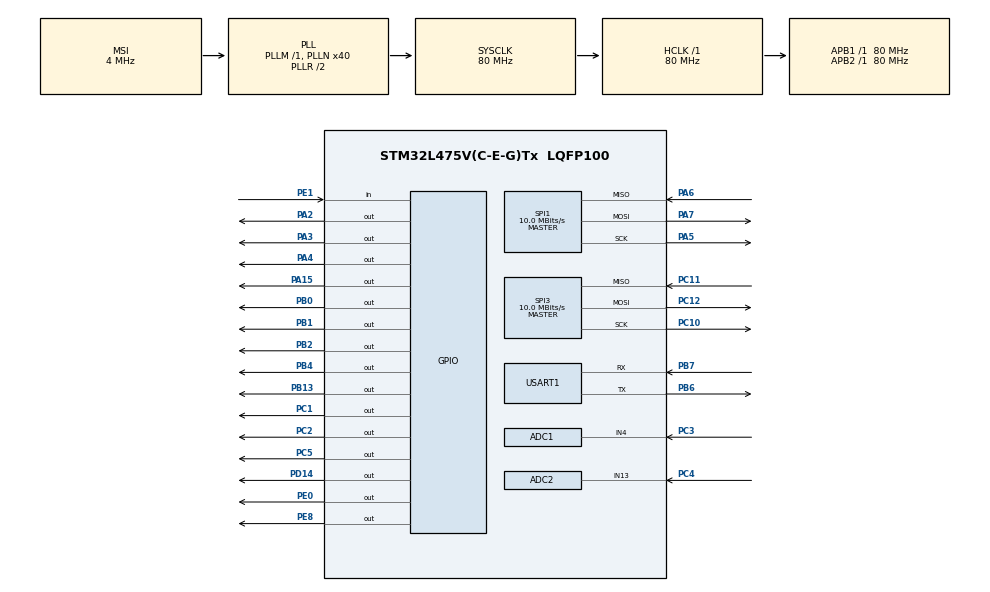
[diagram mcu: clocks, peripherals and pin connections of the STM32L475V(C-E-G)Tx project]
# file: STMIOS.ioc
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ADC1.Channel-0\#ChannelRegularConversion=ADC_CHANNEL_4
ADC1.ContinuousConvMode=ENABLE
ADC1.NbrOfConversionFlag=1
ADC1.OffsetNumber-0\#ChannelRegularConversion=ADC_OFFSET_NONE
ADC1.Rank-0\#ChannelRegularConversion=1
ADC1.SamplingTime-0\#ChannelRegularConversion=ADC_SAMPLETIME_2CYCLES_5
ADC1.master=1
ADC2.Channel-0\#ChannelRegularConversion=ADC_CHANNEL_13
ADC2.ContinuousConvMode=ENABLE
ADC2.NbrOfConversionFlag=1
ADC2.OffsetNumber-0\#ChannelRegularConversion=ADC_OFFSET_NONE
ADC2.Rank-0\#ChannelRegularConversion=1
ADC2.SamplingTime-0\#ChannelRegularConversion=ADC_SAMPLETIME_2CYCLES_5
FATFS._MAX_SS=4096
FATFS._USE_LFN=2
FREERTOS.Tasks01=defaultTask,0,128,StartDefaultTask,Default,NULL,Dynamic,NULL,NULL
FREERTOS.configTOTAL_HEAP_SIZE=64000
FREERTOS.configUSE_NEWLIB_REENTRANT=1
Mcu.Family=STM32L4
Mcu.Name=STM32L475V(C-E-G)Tx
Mcu.Package=LQFP100
NVIC.PriorityGroup=NVIC_PRIORITYGROUP_4
NVIC.TIM1_UP_TIM16_IRQn=true\:0\:0\:false\:false\:true\:false\:false\:true
NVIC.TIM2_IRQn=true\:5\:0\:false\:false\:true\:true\:true\:true
NVIC.TimeBase=TIM1_UP_TIM16_IRQn
NVIC.TimeBaseIP=TIM1
PA13\ (JTMS-SWDIO).Mode=Serial_Wire
PA13\ (JTMS-SWDIO).Signal=SYS_JTMS-SWDIO
PA14\ (JTCK-SWCLK).Mode=Serial_Wire
PA14\ (JTCK-SWCLK).Signal=SYS_JTCK-SWCLK
PA15\ (JTDI).Signal=GPIO_Output
PA2.GPIO_Speed=GPIO_SPEED_FREQ_MEDIUM
PA2.Signal=GPIO_Output
PA3.Signal=GPIO_Output
PA4.Signal=GPIO_Output
PA5.Mode=Full_Duplex_Master
PA5.Signal=SPI1_SCK
PA6.Mode=Full_Duplex_Master
PA6.Signal=SPI1_MISO
PA7.Mode=Full_Duplex_Master
PA7.Signal=SPI1_MOSI
PB0.Signal=GPIO_Output
PB1.Signal=GPIO_Output
PB13.Signal=GPIO_Output
PB2.Signal=GPIO_Output
PB4\ (NJTRST).Signal=GPIO_Output
PB6.Mode=Asynchronous
PB6.Signal=USART1_TX
PB7.Mode=Asynchronous
PB7.Signal=USART1_RX
PC1.Signal=GPIO_Output
PC10.Mode=Full_Duplex_Master
PC10.Signal=SPI3_SCK
PC11.Mode=Full_Duplex_Master
PC11.Signal=SPI3_MISO
PC12.Mode=Full_Duplex_Master
PC12.Signal=SPI3_MOSI
PC2.Signal=GPIO_Output
PC3.Signal=ADCx_IN4
PC4.Signal=ADCx_IN13
PC5.Signal=GPIO_Output
PD14.Signal=GPIO_Output
PE0.GPIO_Speed=GPIO_SPEED_FREQ_MEDIUM
PE0.Signal=GPIO_Output
PE1.Signal=GPIO_Input
PE8.Signal=GPIO_Output
ProjectManager.HeapSize=0x200
ProjectManager.StackSize=0x400
ProjectManager.TargetToolchain=STM32CubeIDE
RCC.ADCFreq_Value=48000000
RCC.AHBFreq_Value=80000000
RCC.APB1Freq_Value=80000000
RCC.APB1TimFreq_Value=80000000
RCC.APB2Freq_Value=80000000
RCC.APB2TimFreq_Value=80000000
RCC.CortexFreq_Value=80000000
RCC.HCLKFreq_Value=80000000
RCC.HSE_VALUE=8000000
RCC.HSI_VALUE=16000000
RCC.LSE_VALUE=32768
RCC.MSI_VALUE=4000000
RCC.PLLN=40
RCC.PLLSAI1N=24
RCC.RTCClockSelection=RCC_RTCCLKSOURCE_LSE
RCC.SYSCLKFreq_VALUE=80000000
RCC.SYSCLKSource=RCC_SYSCLKSOURCE_PLLCLK
RCC.USBFreq_Value=48000000
RCC.VCOOutputFreq_Value=160000000
SH.ADCx_IN13.0=ADC2_IN13,IN13-Single-Ended
SH.ADCx_IN4.0=ADC1_IN4,IN4-Single-Ended
SPI1.BaudRatePrescaler=SPI_BAUDRATEPRESCALER_8
SPI1.CalculateBaudRate=10.0 MBits/s
SPI1.DataSize=SPI_DATASIZE_8BIT
SPI1.Direction=SPI_DIRECTION_2LINES
SPI1.Mode=SPI_MODE_MASTER
SPI1.VirtualType=VM_MASTER
SPI3.BaudRatePrescaler=SPI_BAUDRATEPRESCALER_8
SPI3.CalculateBaudRate=10.0 MBits/s
SPI3.DataSize=SPI_DATASIZE_16BIT
SPI3.Direction=SPI_DIRECTION_2LINES
SPI3.Mode=SPI_MODE_MASTER
SPI3.VirtualType=VM_MASTER
TIM2.AutoReloadPreload=TIM_AUTORELOAD_PRELOAD_ENABLE
TIM2.Period=9999
TIM2.Prescaler=7999
USART1.VirtualMode-Asynchronous=VM_ASYNC
VP_FATFS_VS_Generic.Mode=User_defined
VP_FREERTOS_VS_CMSIS_V1.Mode=CMSIS_V1
VP_SYS_VS_tim1.Mode=TIM1
VP_TIM2_VS_ClockSourceINT.Mode=Internal
board=B-L475E-IOT01A2

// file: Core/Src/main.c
/* USER CODE BEGIN Header */
/**
  ******************************************************************************
  * @file           : main.c
  * @brief          : Main program body
  ******************************************************************************
  * @attention
  *
  * <h2><center>&copy; Copyright (c) 2021 STMicroelectronics.
  * All rights reserved.</center></h2>
  *
  * This software component is licensed by ST under BSD 3-Clause license,
  * the "License"; You may not use this file except in compliance with the
  * License. You may obtain a copy of the License at:
  *                        opensource.org/licenses/BSD-3-Clause
  *
  ******************************************************************************
  */
/* USER CODE END Header */
#include "main.h"
#include "cmsis_os.h"
#include "fatfs.h"

/* USER CODE BEGIN Includes */
//C LIBRARYS
#include "stdio.h"
#include "stdbool.h"
//USER LIBRARYS
#include "lcd_driver.h"
#include "wifi_driver.h"
#include "fatfs_sd.h"
#include "sd_device.h"
#include "logo.h"

/* USER CODE END Includes */

/* USER CODE BEGIN PD */

#define STORAGE_MOUNT		"/"
#define SYSTEM_STATE_FILE	"system_state.txt"

#define TIME_OFFSET			6*3600

/* USER CODE END PD */

ADC_HandleTypeDef hadc1;
ADC_HandleTypeDef hadc2;

SPI_HandleTypeDef hspi1;
SPI_HandleTypeDef hspi3;

TIM_HandleTypeDef htim2;

UART_HandleTypeDef huart1;

osThreadId defaultTaskHandle;
/* USER CODE BEGIN PV */
const char SSID[]= "ssid";
const char PASSWORD[] = "pass";

const char *main_menu[]={
		"Almacenamiento",
		"Brillo",
		"Musica",
		"Wi-Fi",
		"Bluetooth",
		"Herramientas",
		"Sistema",
};

weather_info_t info;
time_t date_time;

//SYSTEM TASK
//TASK HANDLE
TaskHandle_t screen_ctrl_master;

//QUEUE
xQueueHandle touch_point_queue = NULL;

//SEMAPHORE

//MUTEX
xSemaphoreHandle lcd_mutex= NULL;
xSemaphoreHandle lcd_control_show = NULL;
xSemaphoreHandle date_time_mutex = NULL;
xSemaphoreHandle wifi_control_mutex = NULL;

/* USER CODE END PV */

void SystemClock_Config(void);
void PeriphCommonClock_Config(void);
static void MX_GPIO_Init(void);
static void MX_SPI1_Init(void);
static void MX_USART1_UART_Init(void);
static void MX_SPI3_Init(void);
static void MX_ADC1_Init(void);
static void MX_ADC2_Init(void);
static void MX_TIM2_Init(void);
void StartDefaultTask(void const * argument);

/* USER CODE BEGIN PFP */
//START
void print_logo();

//SD
bool show_file(char *file_name, uint8_t type_file);

//SYSTEM TASK
void check_batery_task(void *arg);
void screen_show_task(void *arg);
void wait_animation_task(void *arg);
void main_menu_show_task(void *arg);
void touch_screen_task(void *arg);

//SYSTEM
bool save_state(char *status);
//void set_time();
//void set_time_sync();

//WIFI TASK
void check_wifi_connection_task(void *arg);
void scan_wifi_task(void *arg);
void time_show_task(void *arg);

//SD TASK
void file_explorer_task(void *arg);

/* USER CODE END PFP */

/* USER CODE BEGIN 0 */
void touch_read(touch_point_t *point)
{
	uint32_t adc_read_x=0;
	uint32_t adc_read_y=0;
	////////////////////////////Zread/////////////////////////////////
	HAL_GPIO_DeInit(GPIOC, GPIO_PIN_3);
	MX_ADC1_Init();
	HAL_GPIO_DeInit(GPIOC, GPIO_PIN_4);
	MX_ADC2_Init();

	HAL_GPIO_WritePin(GPIOA, GPIO_PIN_4, 1);
	HAL_GPIO_WritePin(GPIOB, GPIO_PIN_1, 0);

	HAL_ADC_Start(&hadc1);
	HAL_ADC_Start(&hadc2);

	adc_read_x = HAL_ADC_GetValue(&hadc1);
	adc_read_y = HAL_ADC_GetValue(&hadc2);

	HAL_ADC_Stop(&hadc1);
	HAL_ADC_Stop(&hadc2);

	point->pressure = adc_read_y-adc_read_x;

	HAL_ADC_DeInit(&hadc2);
	gpio_pin_mode(GPIOC, GPIO_PIN_4, 1);

	////////////////X READ//////////////////////////////////////////
	gpio_pin_mode(GPIOB, GPIO_PIN_1, 0);

	HAL_GPIO_WritePin(GPIOA, GPIO_PIN_4, 1);
	HAL_GPIO_WritePin(GPIOC, GPIO_PIN_4, 0);

	HAL_ADC_Start(&hadc1);
	for(uint8_t i=0; i<100; i++)
	{
		adc_read_x += HAL_ADC_GetValue(&hadc1);
	}
	HAL_ADC_Stop(&hadc1);

	point->x_point = (adc_read_x/1700);

	HAL_ADC_DeInit(&hadc1);

	gpio_pin_mode(GPIOB, GPIO_PIN_1, 1);
	gpio_pin_mode(GPIOC, GPIO_PIN_3, 1);

	///////////////////YREAD////////////////////////////////////////
	gpio_pin_mode(GPIOA, GPIO_PIN_4, 0);
	HAL_GPIO_DeInit(GPIOC, GPIO_PIN_4);

	MX_ADC2_Init();

	HAL_GPIO_WritePin(GPIOB, GPIO_PIN_1, 0);
	HAL_GPIO_WritePin(GPIOC, GPIO_PIN_3, 1);

	HAL_ADC_Start(&hadc2);
	for(uint8_t i=0; i<100; i++)
	{
		adc_read_y += HAL_ADC_GetValue(&hadc2);
	}
	HAL_ADC_Stop(&hadc2);
	point->y_point = (adc_read_y/1200);

	HAL_ADC_DeInit(&hadc2);

	gpio_pin_mode(GPIOA, GPIO_PIN_4, 1);
	gpio_pin_mode(GPIOC, GPIO_PIN_4, 1);

}

void system_block_screen_by_tp_crtl()
{
	touch_point_t point;
	while(xQueueReceive(touch_point_queue, &point, portMAX_DELAY) == pdFALSE);
}

/* USER CODE END 0 */

int main(void)
{

  /* MCU Configuration--------------------------------------------------------*/

  /* Reset of all peripherals, Initializes the Flash interface and the Systick. */
  HAL_Init();

  /* Configure the system clock */
  SystemClock_Config();

/* Configure the peripherals common clocks */
  PeriphCommonClock_Config();

  /* Initialize all configured peripherals */
  MX_GPIO_Init();
  MX_SPI1_Init();
  MX_FATFS_Init();
  MX_USART1_UART_Init();
  MX_SPI3_Init();
  MX_ADC1_Init();
  MX_ADC2_Init();
  MX_TIM2_Init();
  /* USER CODE BEGIN 2 */
  //LCD INIT__________________________________________________________________
  HAL_ADC_DeInit(&hadc1);
  HAL_ADC_DeInit(&hadc2);
  gpio_pin_mode(GPIOC, GPIO_PIN_4, 1);
  gpio_pin_mode(GPIOC, GPIO_PIN_3, 1);

  lcd_init();

  //SYSTEM INIT_______________________________________________________________
  print_logo();
  if(!init_sd(STORAGE_MOUNT))
  {
	  lcd_draw_string("SD FAILED...", strlen("SD FAILED..."), 0, 0, RED, font12);
	  lcd_draw_string("PRESS RESET...", strlen("PRESS RESET..."), 0, 12, YELLOW, font12);
	  while(1)
		  asm("nop");
  }

  lcd_draw_message_widget(100, 0, 1);
  //while(1);

  //INIT MUTEX________________________________________________________________
  lcd_mutex = xSemaphoreCreateMutex();
  lcd_control_show = xSemaphoreCreateMutex();
  date_time_mutex = xSemaphoreCreateMutex();
  wifi_control_mutex = xSemaphoreCreateMutex();

  //INIT QUEUE________________________________________________________________
  touch_point_queue = xQueueCreate(1, sizeof(touch_point_t));

  //INIT SYSTEM TASK__________________________________________________________
  xTaskCreate(&check_batery_task, "batery task", 512, NULL, 1, NULL);
  xTaskCreate(&check_wifi_connection_task, "wifi tasK", 1024, NULL, 2, NULL);
  xTaskCreate(&time_show_task, "time task", 1024, NULL, 1, NULL);

  xTaskCreate(&touch_screen_task, "touch task", 1024, NULL, 5, NULL);
  xTaskCreate(&screen_show_task, "master task", 512*8, NULL, 10, &screen_ctrl_master);

  vTaskStartScheduler();
  /* USER CODE END 2 */

  /* Create the thread(s) */
  /* definition and creation of defaultTask */
  osThreadDef(defaultTask, StartDefaultTask, osPriorityNormal, 0, 128);
  defaultTaskHandle = osThreadCreate(osThread(defaultTask), NULL);

  /* Start scheduler */
  osKernelStart();

  /* We should never get here as control is now taken by the scheduler */
  /* Infinite loop */

}

void SystemClock_Config(void)
{
  RCC_OscInitTypeDef RCC_OscInitStruct = {0};
  RCC_ClkInitTypeDef RCC_ClkInitStruct = {0};

  /** Configure the main internal regulator output voltage
  */
  if (HAL_PWREx_ControlVoltageScaling(PWR_REGULATOR_VOLTAGE_SCALE1) != HAL_OK)
  {
    Error_Handler();
  }
  /** Initializes the RCC Oscillators according to the specified parameters
  * in the RCC_OscInitTypeDef structure.
  */
  RCC_OscInitStruct.OscillatorType = RCC_OSCILLATORTYPE_MSI;
  RCC_OscInitStruct.MSIState = RCC_MSI_ON;
  RCC_OscInitStruct.MSICalibrationValue = 0;
  RCC_OscInitStruct.MSIClockRange = RCC_MSIRANGE_6;
  RCC_OscInitStruct.PLL.PLLState = RCC_PLL_ON;
  RCC_OscInitStruct.PLL.PLLSource = RCC_PLLSOURCE_MSI;
  RCC_OscInitStruct.PLL.PLLM = 1;
  RCC_OscInitStruct.PLL.PLLN = 40;
  RCC_OscInitStruct.PLL.PLLP = RCC_PLLP_DIV7;
  RCC_OscInitStruct.PLL.PLLQ = RCC_PLLQ_DIV2;
  RCC_OscInitStruct.PLL.PLLR = RCC_PLLR_DIV2;
  if (HAL_RCC_OscConfig(&RCC_OscInitStruct) != HAL_OK)
  {
    Error_Handler();
  }
  /** Initializes the CPU, AHB and APB buses clocks
  */
  RCC_ClkInitStruct.ClockType = RCC_CLOCKTYPE_HCLK|RCC_CLOCKTYPE_SYSCLK
                              |RCC_CLOCKTYPE_PCLK1|RCC_CLOCKTYPE_PCLK2;
  RCC_ClkInitStruct.SYSCLKSource = RCC_SYSCLKSOURCE_PLLCLK;
  RCC_ClkInitStruct.AHBCLKDivider = RCC_SYSCLK_DIV1;
  RCC_ClkInitStruct.APB1CLKDivider = RCC_HCLK_DIV1;
  RCC_ClkInitStruct.APB2CLKDivider = RCC_HCLK_DIV1;

  if (HAL_RCC_ClockConfig(&RCC_ClkInitStruct, FLASH_LATENCY_4) != HAL_OK)
  {
    Error_Handler();
  }
}

void PeriphCommonClock_Config(void)
{
  RCC_PeriphCLKInitTypeDef PeriphClkInit = {0};

  /** Initializes the peripherals clock
  */
  PeriphClkInit.PeriphClockSelection = RCC_PERIPHCLK_ADC;
  PeriphClkInit.AdcClockSelection = RCC_ADCCLKSOURCE_PLLSAI1;
  PeriphClkInit.PLLSAI1.PLLSAI1Source = RCC_PLLSOURCE_MSI;
  PeriphClkInit.PLLSAI1.PLLSAI1M = 1;
  PeriphClkInit.PLLSAI1.PLLSAI1N = 24;
  PeriphClkInit.PLLSAI1.PLLSAI1P = RCC_PLLP_DIV7;
  PeriphClkInit.PLLSAI1.PLLSAI1Q = RCC_PLLQ_DIV2;
  PeriphClkInit.PLLSAI1.PLLSAI1R = RCC_PLLR_DIV2;
  PeriphClkInit.PLLSAI1.PLLSAI1ClockOut = RCC_PLLSAI1_ADC1CLK;
  if (HAL_RCCEx_PeriphCLKConfig(&PeriphClkInit) != HAL_OK)
  {
    Error_Handler();
  }
}

static void MX_ADC1_Init(void)
{

  ADC_MultiModeTypeDef multimode = {0};
  ADC_ChannelConfTypeDef sConfig = {0};

  /** Common config
  */
  hadc1.Instance = ADC1;
  hadc1.Init.ClockPrescaler = ADC_CLOCK_ASYNC_DIV1;
  hadc1.Init.Resolution = ADC_RESOLUTION_12B;
  hadc1.Init.DataAlign = ADC_DATAALIGN_RIGHT;
  hadc1.Init.ScanConvMode = ADC_SCAN_DISABLE;
  hadc1.Init.EOCSelection = ADC_EOC_SINGLE_CONV;
  hadc1.Init.LowPowerAutoWait = DISABLE;
  hadc1.Init.ContinuousConvMode = ENABLE;
  hadc1.Init.NbrOfConversion = 1;
  hadc1.Init.DiscontinuousConvMode = DISABLE;
  hadc1.Init.ExternalTrigConv = ADC_SOFTWARE_START;
  hadc1.Init.ExternalTrigConvEdge = ADC_EXTERNALTRIGCONVEDGE_NONE;
  hadc1.Init.DMAContinuousRequests = DISABLE;
  hadc1.Init.Overrun = ADC_OVR_DATA_PRESERVED;
  hadc1.Init.OversamplingMode = DISABLE;
  if (HAL_ADC_Init(&hadc1) != HAL_OK)
  {
    Error_Handler();
  }
  /** Configure the ADC multi-mode
  */
  multimode.Mode = ADC_MODE_INDEPENDENT;
  if (HAL_ADCEx_MultiModeConfigChannel(&hadc1, &multimode) != HAL_OK)
  {
    Error_Handler();
  }
  /** Configure Regular Channel
  */
  sConfig.Channel = ADC_CHANNEL_4;
  sConfig.Rank = ADC_REGULAR_RANK_1;
  sConfig.SamplingTime = ADC_SAMPLETIME_2CYCLES_5;
  sConfig.SingleDiff = ADC_SINGLE_ENDED;
  sConfig.OffsetNumber = ADC_OFFSET_NONE;
  sConfig.Offset = 0;
  if (HAL_ADC_ConfigChannel(&hadc1, &sConfig) != HAL_OK)
  {
    Error_Handler();
  }

}

static void MX_ADC2_Init(void)
{

  ADC_ChannelConfTypeDef sConfig = {0};

  /** Common config
  */
  hadc2.Instance = ADC2;
  hadc2.Init.ClockPrescaler = ADC_CLOCK_ASYNC_DIV1;
  hadc2.Init.Resolution = ADC_RESOLUTION_12B;
  hadc2.Init.DataAlign = ADC_DATAALIGN_RIGHT;
  hadc2.Init.ScanConvMode = ADC_SCAN_DISABLE;
  hadc2.Init.EOCSelection = ADC_EOC_SINGLE_CONV;
  hadc2.Init.LowPowerAutoWait = DISABLE;
  hadc2.Init.ContinuousConvMode = ENABLE;
  hadc2.Init.NbrOfConversion = 1;
  hadc2.Init.DiscontinuousConvMode = DISABLE;
  hadc2.Init.ExternalTrigConv = ADC_SOFTWARE_START;
  hadc2.Init.ExternalTrigConvEdge = ADC_EXTERNALTRIGCONVEDGE_NONE;
  hadc2.Init.DMAContinuousRequests = DISABLE;
  hadc2.Init.Overrun = ADC_OVR_DATA_PRESERVED;
  hadc2.Init.OversamplingMode = DISABLE;
  if (HAL_ADC_Init(&hadc2) != HAL_OK)
  {
    Error_Handler();
  }
  /** Configure Regular Channel
  */
  sConfig.Channel = ADC_CHANNEL_13;
  sConfig.Rank = ADC_REGULAR_RANK_1;
  sConfig.SamplingTime = ADC_SAMPLETIME_2CYCLES_5;
  sConfig.SingleDiff = ADC_SINGLE_ENDED;
  sConfig.OffsetNumber = ADC_OFFSET_NONE;
  sConfig.Offset = 0;
  if (HAL_ADC_ConfigChannel(&hadc2, &sConfig) != HAL_OK)
  {
    Error_Handler();
  }

}

static void MX_SPI1_Init(void)
{

  /* SPI1 parameter configuration*/
  hspi1.Instance = SPI1;
  hspi1.Init.Mode = SPI_MODE_MASTER;
  hspi1.Init.Direction = SPI_DIRECTION_2LINES;
  hspi1.Init.DataSize = SPI_DATASIZE_8BIT;
  hspi1.Init.CLKPolarity = SPI_POLARITY_LOW;
  hspi1.Init.CLKPhase = SPI_PHASE_1EDGE;
  hspi1.Init.NSS = SPI_NSS_SOFT;
  hspi1.Init.BaudRatePrescaler = SPI_BAUDRATEPRESCALER_8;
  hspi1.Init.FirstBit = SPI_FIRSTBIT_MSB;
  hspi1.Init.TIMode = SPI_TIMODE_DISABLE;
  hspi1.Init.CRCCalculation = SPI_CRCCALCULATION_DISABLE;
  hspi1.Init.CRCPolynomial = 7;
  hspi1.Init.CRCLength = SPI_CRC_LENGTH_DATASIZE;
  hspi1.Init.NSSPMode = SPI_NSS_PULSE_ENABLE;
  if (HAL_SPI_Init(&hspi1) != HAL_OK)
  {
    Error_Handler();
  }

}

static void MX_SPI3_Init(void)
{

  /* SPI3 parameter configuration*/
  hspi3.Instance = SPI3;
  hspi3.Init.Mode = SPI_MODE_MASTER;
  hspi3.Init.Direction = SPI_DIRECTION_2LINES;
  hspi3.Init.DataSize = SPI_DATASIZE_16BIT;
  hspi3.Init.CLKPolarity = SPI_POLARITY_LOW;
  hspi3.Init.CLKPhase = SPI_PHASE_1EDGE;
  hspi3.Init.NSS = SPI_NSS_SOFT;
  hspi3.Init.BaudRatePrescaler = SPI_BAUDRATEPRESCALER_8;
  hspi3.Init.FirstBit = SPI_FIRSTBIT_MSB;
  hspi3.Init.TIMode = SPI_TIMODE_DISABLE;
  hspi3.Init.CRCCalculation = SPI_CRCCALCULATION_DISABLE;
  hspi3.Init.CRCPolynomial = 7;
  hspi3.Init.CRCLength = SPI_CRC_LENGTH_DATASIZE;
  hspi3.Init.NSSPMode = SPI_NSS_PULSE_ENABLE;
  if (HAL_SPI_Init(&hspi3) != HAL_OK)
  {
    Error_Handler();
  }

}

static void MX_TIM2_Init(void)
{

  TIM_ClockConfigTypeDef sClockSourceConfig = {0};
  TIM_MasterConfigTypeDef sMasterConfig = {0};

  htim2.Instance = TIM2;
  htim2.Init.Prescaler = 7999;
  htim2.Init.CounterMode = TIM_COUNTERMODE_UP;
  htim2.Init.Period = 9999;
  htim2.Init.ClockDivision = TIM_CLOCKDIVISION_DIV1;
  htim2.Init.AutoReloadPreload = TIM_AUTORELOAD_PRELOAD_ENABLE;
  if (HAL_TIM_Base_Init(&htim2) != HAL_OK)
  {
    Error_Handler();
  }
  sClockSourceConfig.ClockSource = TIM_CLOCKSOURCE_INTERNAL;
  if (HAL_TIM_ConfigClockSource(&htim2, &sClockSourceConfig) != HAL_OK)
  {
    Error_Handler();
  }
  sMasterConfig.MasterOutputTrigger = TIM_TRGO_RESET;
  sMasterConfig.MasterSlaveMode = TIM_MASTERSLAVEMODE_DISABLE;
  if (HAL_TIMEx_MasterConfigSynchronization(&htim2, &sMasterConfig) != HAL_OK)
  {
    Error_Handler();
  }

}

static void MX_USART1_UART_Init(void)
{

  huart1.Instance = USART1;
  huart1.Init.BaudRate = 115200;
  huart1.Init.WordLength = UART_WORDLENGTH_8B;
  huart1.Init.StopBits = UART_STOPBITS_1;
  huart1.Init.Parity = UART_PARITY_NONE;
  huart1.Init.Mode = UART_MODE_TX_RX;
  huart1.Init.HwFlowCtl = UART_HWCONTROL_NONE;
  huart1.Init.OverSampling = UART_OVERSAMPLING_16;
  huart1.Init.OneBitSampling = UART_ONE_BIT_SAMPLE_DISABLE;
  huart1.AdvancedInit.AdvFeatureInit = UART_ADVFEATURE_NO_INIT;
  if (HAL_UART_Init(&huart1) != HAL_OK)
  {
    Error_Handler();
  }

}

static void MX_GPIO_Init(void)
{
  GPIO_InitTypeDef GPIO_InitStruct = {0};

  /* GPIO Ports Clock Enable */
  __HAL_RCC_GPIOC_CLK_ENABLE();
  __HAL_RCC_GPIOA_CLK_ENABLE();
  __HAL_RCC_GPIOB_CLK_ENABLE();
  __HAL_RCC_GPIOE_CLK_ENABLE();
  __HAL_RCC_GPIOD_CLK_ENABLE();

  /*Configure GPIO pin Output Level */
  HAL_GPIO_WritePin(GPIOC, GPIO_PIN_1|GPIO_PIN_2|GPIO_PIN_5, GPIO_PIN_RESET);

  /*Configure GPIO pin Output Level */
  HAL_GPIO_WritePin(GPIOA, GPIO_PIN_2|GPIO_PIN_3|GPIO_PIN_4|GPIO_PIN_15, GPIO_PIN_RESET);

  /*Configure GPIO pin Output Level */
  HAL_GPIO_WritePin(GPIOB, GPIO_PIN_0|GPIO_PIN_1|GPIO_PIN_2|GPIO_PIN_13
                          |GPIO_PIN_4, GPIO_PIN_RESET);

  /*Configure GPIO pin Output Level */
  HAL_GPIO_WritePin(GPIOE, GPIO_PIN_8|GPIO_PIN_0, GPIO_PIN_RESET);

  /*Configure GPIO pin Output Level */
  HAL_GPIO_WritePin(GPIOD, GPIO_PIN_14, GPIO_PIN_RESET);

  /*Configure GPIO pins : PC1 PC2 PC5 */
  GPIO_InitStruct.Pin = GPIO_PIN_1|GPIO_PIN_2|GPIO_PIN_5;
  GPIO_InitStruct.Mode = GPIO_MODE_OUTPUT_PP;
  GPIO_InitStruct.Pull = GPIO_NOPULL;
  GPIO_InitStruct.Speed = GPIO_SPEED_FREQ_LOW;
  HAL_GPIO_Init(GPIOC, &GPIO_InitStruct);

  /*Configure GPIO pin : PA2 */
  GPIO_InitStruct.Pin = GPIO_PIN_2;
  GPIO_InitStruct.Mode = GPIO_MODE_OUTPUT_PP;
  GPIO_InitStruct.Pull = GPIO_NOPULL;
  GPIO_InitStruct.Speed = GPIO_SPEED_FREQ_MEDIUM;
  HAL_GPIO_Init(GPIOA, &GPIO_InitStruct);

  /*Configure GPIO pins : PA3 PA4 PA15 */
  GPIO_InitStruct.Pin = GPIO_PIN_3|GPIO_PIN_4|GPIO_PIN_15;
  GPIO_InitStruct.Mode = GPIO_MODE_OUTPUT_PP;
  GPIO_InitStruct.Pull = GPIO_NOPULL;
  GPIO_InitStruct.Speed = GPIO_SPEED_FREQ_LOW;
  HAL_GPIO_Init(GPIOA, &GPIO_InitStruct);

  /*Configure GPIO pins : PB0 PB1 PB2 PB13
                           PB4 */
  GPIO_InitStruct.Pin = GPIO_PIN_0|GPIO_PIN_1|GPIO_PIN_2|GPIO_PIN_13
                          |GPIO_PIN_4;
  GPIO_InitStruct.Mode = GPIO_MODE_OUTPUT_PP;
  GPIO_InitStruct.Pull = GPIO_NOPULL;
  GPIO_InitStruct.Speed = GPIO_SPEED_FREQ_LOW;
  HAL_GPIO_Init(GPIOB, &GPIO_InitStruct);

  /*Configure GPIO pin : PE8 */
  GPIO_InitStruct.Pin = GPIO_PIN_8;
  GPIO_InitStruct.Mode = GPIO_MODE_OUTPUT_PP;
  GPIO_InitStruct.Pull = GPIO_NOPULL;
  GPIO_InitStruct.Speed = GPIO_SPEED_FREQ_LOW;
  HAL_GPIO_Init(GPIOE, &GPIO_InitStruct);

  /*Configure GPIO pin : PD14 */
  GPIO_InitStruct.Pin = GPIO_PIN_14;
  GPIO_InitStruct.Mode = GPIO_MODE_OUTPUT_PP;
  GPIO_InitStruct.Pull = GPIO_NOPULL;
  GPIO_InitStruct.Speed = GPIO_SPEED_FREQ_LOW;
  HAL_GPIO_Init(GPIOD, &GPIO_InitStruct);

  /*Configure GPIO pin : PE0 */
  GPIO_InitStruct.Pin = GPIO_PIN_0;
  GPIO_InitStruct.Mode = GPIO_MODE_OUTPUT_PP;
  GPIO_InitStruct.Pull = GPIO_NOPULL;
  GPIO_InitStruct.Speed = GPIO_SPEED_FREQ_MEDIUM;
  HAL_GPIO_Init(GPIOE, &GPIO_InitStruct);

  /*Configure GPIO pin : PE1 */
  GPIO_InitStruct.Pin = GPIO_PIN_1;
  GPIO_InitStruct.Mode = GPIO_MODE_INPUT;
  GPIO_InitStruct.Pull = GPIO_NOPULL;
  HAL_GPIO_Init(GPIOE, &GPIO_InitStruct);

}

/* USER CODE BEGIN 4 */
//INIT
void print_logo()
{
	lcd_clear(0x18e3);
	lcd_draw_image(jcios_logo, 32, 123, 175, 73);
}

//SD

bool show_file(char *file_name, type_file_t type)
{
	FIL *file = (FIL *)pvPortMalloc(sizeof(FIL));

	switch(type)
	{
		case txt:
		{
			char buffer_file[31];
			uint8_t y_pos=12;

			if(f_open(file, file_name, FA_READ) != FR_OK)
				return false;

			if(xSemaphoreTake(lcd_mutex, portMAX_DELAY) == pdTRUE)
			{
				lcd_set_window_color(0, 12, LCD_WIDTH, LCD_HEIGHT, BLACK);
				xSemaphoreGive(lcd_mutex);
			}

				while(f_gets(buffer_file, 31, file) != NULL)
				{
					if(xSemaphoreTake(lcd_mutex, portMAX_DELAY) == pdTRUE)
					{
						lcd_draw_string(buffer_file, strlen(buffer_file), 0, y_pos, WHITE, font12);
						y_pos +=12;
						xSemaphoreGive(lcd_mutex);
					}
				}
		}
		break;

		case bmp:
		{
			uint8_t buffer_file[3];
			uint size_read;
			int i;

			if(f_open(file, file_name, FA_READ) != FR_OK)
				return false;

			for(i=0; i<18; i++)
			{
				if(f_read(file, buffer_file, 3, &size_read) != FR_OK);
			}

			for(i= LCD_HEIGHT-1; i>=12; i--)
			{
				for(int j=0; j<LCD_WIDTH; j++)
				{
					f_read(file, buffer_file, 3, &size_read);
					if(xSemaphoreTake(lcd_mutex, portMAX_DELAY) == pdTRUE)
					{
						lcd_set_pixel(j, i, convert_from_rgb_8(buffer_file[2], buffer_file[1], buffer_file[0]));
						xSemaphoreGive(lcd_mutex);
					}
				}
			}

		}
		break;

		default:
			return false;
	}

	f_close(file);
	vPortFree(file);
	return true;
}

//SYSTEM TASK
void check_batery_task(void *arg)
{
	uint8_t batery_level=30;

	while(1)
	{
		if(xSemaphoreTake(lcd_mutex, portMAX_DELAY) == pdTRUE)
		{
			lcd_draw_batery_widget(LCD_WIDTH-25, 0, batery_level);
			xSemaphoreGive(lcd_mutex);
		}
		vTaskDelay(1000);
	}
}

void screen_show_task(void *arg)
{
	uint8_t actual_screen=0;
	uint8_t prev_screen = 0;

	while(1)
	{
		switch(actual_screen)
		{
		case 0:
			system_block_screen_by_tp_crtl();
			actual_screen = 4;
			break;

		case 4:
			prev_screen = actual_screen;
			xTaskCreate(&main_menu_show_task, "main menu", 1024, &actual_screen, 4, NULL);
			vTaskSuspend(NULL);
			break;

		case 5:
			prev_screen = actual_screen;
			xTaskCreate(&file_explorer_task, "file show", 1024*4, &actual_screen, 4, NULL);
			vTaskSuspend(NULL);
			break;

		case 6:
			prev_screen = actual_screen;
			//xTaskCreate(&system_constrast_task, "brillo task", 1024*2, &actual_screen, 4, NULL);
			vTaskSuspend(NULL);
			break;

		case 8:
			prev_screen = actual_screen;
			//xTaskCreate(wifi_scan_show_task, "wifi scan", 1024*2, &actual_screen, 4, NULL);
			vTaskSuspend(NULL);
			break;

		case 10:
			//system_block_screen_by_bt_crtl('b', 4);
			actual_screen = prev_screen;
			break;
		default:
			vTaskDelay(10);
			break;
		}
	}
}

void wait_animation_task(void *arg)
{
	uint8_t task_state = 1;

	while(task_state)
	{
		for(uint8_t i=0; i<=120; i++)
		{
			if(xSemaphoreTake(lcd_control_show, 1) == pdTRUE)
			{
				lcd_draw_circular_load_widget(LCD_WIDTH/2, LCD_HEIGHT/2,
						100, i, 24945, 41850);
				xSemaphoreGive(lcd_control_show);
			}
			else
			{
				task_state = 0;
				break;
			}

		}
	}

	vTaskDelete(NULL);
}

void main_menu_show_task(void *arg)
{
	uint8_t *next_state = arg;
	touch_point_t point;
	point.y_point = 20;

	if(xSemaphoreTake(lcd_mutex, portMAX_DELAY) == pdTRUE)
	{
		lcd_set_window_color(0, 12, LCD_WIDTH, LCD_HEIGHT, BLACK);

		for(uint8_t i=0; i<7; i++)
		{
			lcd_draw_string(main_menu[i], strlen(main_menu[i]),
					0, point.y_point, 2047, font20);
			point.y_point +=20;
		}

		xSemaphoreGive(lcd_mutex);
	}

	while(1)
	{
		if(xQueueReceive(touch_point_queue, &point, portMAX_DELAY) == pdTRUE)
		{
			if(point.y_point>20)
			{
				point.y_point = (point.y_point-20)/20;
				*next_state = 3+point.y_point;
				break;
			}
		}
	}

	vTaskResume(screen_ctrl_master);
	vTaskDelete(NULL);
}

void touch_screen_task(void *arg)
{
	touch_point_t point;

	while(1)
	{
		if(xSemaphoreTake(lcd_mutex, portMAX_DELAY) == pdTRUE)
		{
			touch_read(&point);
			xSemaphoreGive(lcd_mutex);
			if(point.pressure<3000)
				xQueueSend(touch_point_queue, &point, portMAX_DELAY);
		}

		vTaskDelay(100);
	}
}

//SYSTEM
bool save_state(char *status)
{
	FIL *file = (FIL *)pvPortMalloc(sizeof(FIL));

	if(f_open(file, SYSTEM_STATE_FILE, FA_WRITE) != FR_OK)
		return false;

	uint16_t size = strlen(status)+19;
	uint16_t len_write;
	char *buffer = (char *) pvPortMalloc(size);

	//sprintf(buffer, "%02d-%02d-%2d %02d:%02d:%02d->%s", gDate.Date, gDate.Month, 2000 + gDate.Year,
		//	gTime.Hours, gTime.Minutes, gTime.Seconds, status);

	if(f_write(file, buffer, size, &len_write) != FR_OK)
	{
		f_close(file);
		vPortFree(buffer);
		vPortFree(file);
		return false;
	}

	if(len_write<size)
	{
		f_close(file);
		vPortFree(buffer);
		vPortFree(file);
		return false;
	}

	f_close(file);
	vPortFree(buffer);
	vPortFree(file);

	return true;
}

pop_mail_t mail;
//WIFI TASK
void check_wifi_connection_task(void *arg)
{
	int8_t rssi;

	set_default_wifi();
	while(init_wifi(1000) != WiFi_OK)
	{
		save_state("Error init wifi");
		vTaskDelay(100);
	}

	while(connect_wifi(SSID, PASSWORD, WPAandWPA2, 100000) != WiFi_OK)
	{
		save_state("Connection lost");
		vTaskDelay(100);
	}

	close_smtp(1000);

	connect_sntp("pool.ntp.org", "123", HAL_MAX_DELAY);
	if(xSemaphoreTake(date_time_mutex, portMAX_DELAY) == pdTRUE)
	{
		get_time_sntp(&date_time, HAL_MAX_DELAY);
		date_time -= TIME_OFFSET;
		HAL_TIM_Base_Start_IT(&htim2);
		xSemaphoreGive(date_time_mutex);
	}
	disconnect_sntp(HAL_MAX_DELAY);

	http_perform_as_stream_wheather(&info, "19.17,-99.41", HAL_MAX_DELAY);
	//http_perform_as_stream_time(&time, "America", "Mexico_City", HAL_MAX_DELAY);
	//set_time();
	/*
	set_broker_mqtt("ioticos.org", "80", user_name_password, HAL_MAX_DELAY);
	set_credentials_mqtt("jfLOMMKAr7q8KWA", "V3xn9eMkaIy42Sn", "JCIOS", HAL_MAX_DELAY);
	connect_broker_mqtt(HAL_MAX_DELAY);
	set_topic_publish("kcC60pTK0kSqtDm", HAL_MAX_DELAY);
	set_topic_susbcribe("kcC60pTK0kSqtDm", HAL_MAX_DELAY);
	send_message_mqtt("Hola", HAL_MAX_DELAY);
	disconnect_broker_mqtt(HAL_MAX_DELAY);
	*/

	//http_perform_as_stream_wheather(&info, "19.17,-99.41", HAL_MAX_DELAY);
	//http_perform_as_stream_time(&time, "America", "Mexico_City", HAL_MAX_DELAY);
	//HAL_UART_Transmit(&huart1, wifi.buffer_rx, strlen(wifi.buffer_rx), HAL_MAX_DELAY);
	while(1)
	{
		if(xSemaphoreTake(wifi_control_mutex, portMAX_DELAY) == pdTRUE)
			rssi = rssi_soft_ap(HAL_MAX_DELAY);

		if(rssi == 0)
		{
			save_state("Connection lost");
			while(init_wifi(1000) != WiFi_OK);
			connect_wifi(SSID, PASSWORD, WPAandWPA2, 10000);
		}
		if(xSemaphoreTake(lcd_mutex, portMAX_DELAY) == pdTRUE)
		{
			lcd_draw_wifi_signal_widget(LCD_WIDTH-30, 12, rssi);
			xSemaphoreGive(lcd_mutex);
		}
		vTaskDelay(1000);
	}
}

void time_show_task(void *arg)
{
	struct tm *ts;
	char buffer[15];

	while(1)
	{
		if(xSemaphoreTake(date_time_mutex, portMAX_DELAY) == pdTRUE)
		{
			ts = localtime(&date_time);
			strftime(buffer, 15, "%H:%M", ts);

			if(xSemaphoreTake(lcd_mutex, portMAX_DELAY) == pdTRUE)
			{
				lcd_set_window_color(0, 0, strlen(buffer)*8, 12, BLACK);
				lcd_draw_string(buffer, strlen(buffer), 0, 0, WHITE, font12);
				xSemaphoreGive(lcd_mutex);
			}

			xSemaphoreGive(date_time_mutex);
		}

		vTaskDelay(10000);
	}
}

//SD TASK
void file_explorer_task(void *arg)
{
	file_linked_list_t *list = NULL;
	file_linked_list_t *aux;
	uint8_t *next_state = arg;

	touch_point_t point;
	point.y_point = 20;

	int size = scan_directory(STORAGE_MOUNT, &list);

	if(xSemaphoreTake(lcd_mutex, portMAX_DELAY) == pdTRUE)
	{
		lcd_set_window_color(0, 12, LCD_WIDTH, LCD_HEIGHT, BLACK);

		if(size == -1)
			lcd_draw_string("SD NOT FOUND...", 15, 0, 20, RED, font20);

		else
		{
			aux = list;
			for(uint8_t i=0; i<size; i++)
			{
				lcd_draw_string(aux->name, strlen(aux->name), 0, point.y_point, 2047, font20);
				point.y_point +=20;
				aux = aux->next;
			}
		}

		xSemaphoreGive(lcd_mutex);
	}

	while(1)
	{
		if(xQueueReceive(touch_point_queue, &point, portMAX_DELAY) == pdTRUE)
		{
			if(point.y_point>20)
			{
				point.y_point = (point.y_point-20)/20;
				aux = list;
				for(uint8_t i=0; i<point.y_point; i++)
					aux = aux->next;

				show_file(aux->name, aux->type);
			}
		}
	}

	delete_file_list(&list, size);
	vTaskResume(screen_ctrl_master);
	vTaskDelete(NULL);

}

/* USER CODE END 4 */

void StartDefaultTask(void const * argument)
{
  for(;;)
  {
    osDelay(1);
  }
}

void HAL_TIM_PeriodElapsedCallback(TIM_HandleTypeDef *htim)
{
  if (htim->Instance == TIM1) {
    HAL_IncTick();
  }
  /* USER CODE BEGIN Callback 1 */
  else if(htim->Instance == TIM2)
	  date_time++;

  /* USER CODE END Callback 1 */
}

void Error_Handler(void)
{
  __disable_irq();
  while (1)
  {
  }
}

/************************ (C) COPYRIGHT STMicroelectronics *****END OF FILE****/
